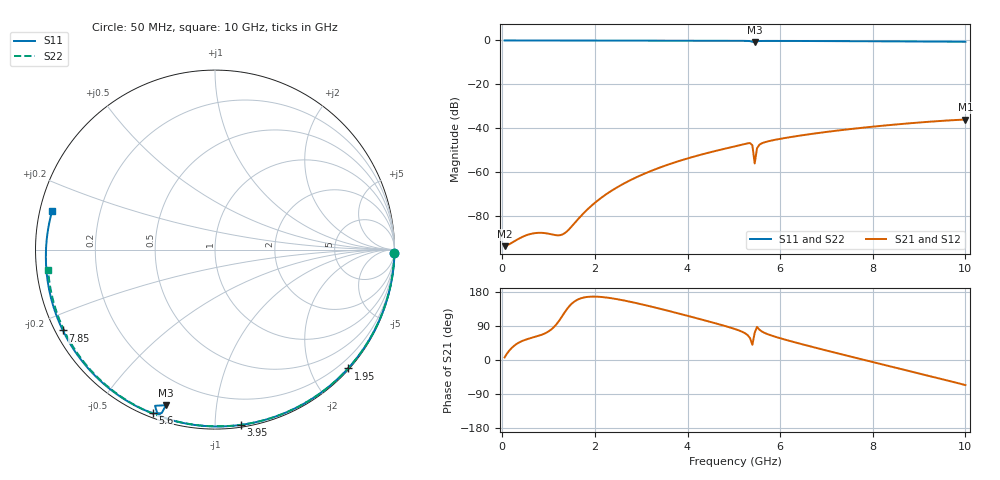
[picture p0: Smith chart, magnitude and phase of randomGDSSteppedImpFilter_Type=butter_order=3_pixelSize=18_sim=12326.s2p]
! freq	dB(S11)	phase(S11)	dB(S12)	phase(S12)
!  dB(S21)	phase(S21)	dB(S22)	phase(S22)
!S-par simulation data
#  GHz  S  DB  R 50
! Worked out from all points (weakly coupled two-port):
!   200 points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, 50 MHz to 10 GHz, reference 50 ohm
!   highest |S21| = -35.98 dB at 10 GHz (marker M1); lowest = -93.6 dB at 50 MHz (marker M2)
!   lowest |S11| = -0.8 dB at 5.45 GHz (marker M3), VSWR 21.00, Z = 3.66 - j36.5 ohm
!   |S11| at or under -10 dB: nowhere
!   |S22| runs from -0.6 to 0.0 dB; largest |S21 - S12| = 0
!   S11 on the Smith chart (normalised r, x): 50 MHz: open; 1.95 GHz: 0.02, -2.62; 3.95 GHz: 0.02, -1.16; 5.6 GHz: 0.02, -0.69; 7.85 GHz: 0.02, -0.25; 10 GHz: 0.04, +0.12
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0.05  -0.00 -1.1  -93.63 6.9  -93.63 6.9  -0.00 -1.0
0.8  -0.02 -17.4  -87.54 64.4  -87.54 64.4  -0.02 -15.9
1.65  -0.05 -35.5  -81.01 160.7  -81.01 160.7  -0.04 -32.4
1.7  -0.05 -36.5  -79.86 162.9  -79.86 162.9  -0.04 -33.4
1.75  -0.05 -37.6  -78.75 164.6  -78.75 164.6  -0.04 -34.3
1.95  -0.05 -41.8  -74.77 167.3  -74.77 167.3  -0.05 -38.1
2.25  -0.06 -48.0  -69.91 164.9  -69.91 164.9  -0.06 -43.8
2.6  -0.07 -55.1  -65.41 157.8  -65.41 157.8  -0.06 -50.4
3.4  -0.09 -71.0  -57.86 135.4  -57.86 135.4  -0.09 -65.0
3.95  -0.11 -81.7  -54.01 118.2  -54.01 118.2  -0.10 -74.7
5.05  -0.16 -102.6  -48.07 80.6  -48.07 80.6  -0.14 -93.5
5.35  -0.30 -109.5  -46.69 57.7  -46.69 57.7  -0.16 -98.5
5.4  -0.61 -111.0  -47.72 40.0  -47.72 40.0  -0.16 -99.3
5.45  -0.83 -107.5  -56.00 71.7  -56.00 71.7  -0.16 -100.1
5.5  -0.37 -108.1  -49.08 87.4  -49.08 87.4  -0.17 -100.9
5.6  -0.23 -110.9  -46.85 75.7  -46.85 75.7  -0.17 -102.6
5.95  -0.21 -117.9  -44.97 59.2  -44.97 59.2  -0.19 -108.2
6.7  -0.26 -131.5  -42.47 34.4  -42.47 34.4  -0.23 -120.2
7.85  -0.36 -152.0  -39.56 -0.8  -39.56 -0.8  -0.33 -138.4
8.35  -0.41 -161.2  -38.53 -15.7  -38.53 -15.7  -0.37 -146.2
9.2  -0.51 -177.2  -37.02 -41.3  -37.02 -41.3  -0.47 -159.8
10  -0.60 166.7  -35.98 -66.2  -35.98 -66.2  -0.57 -173.1
